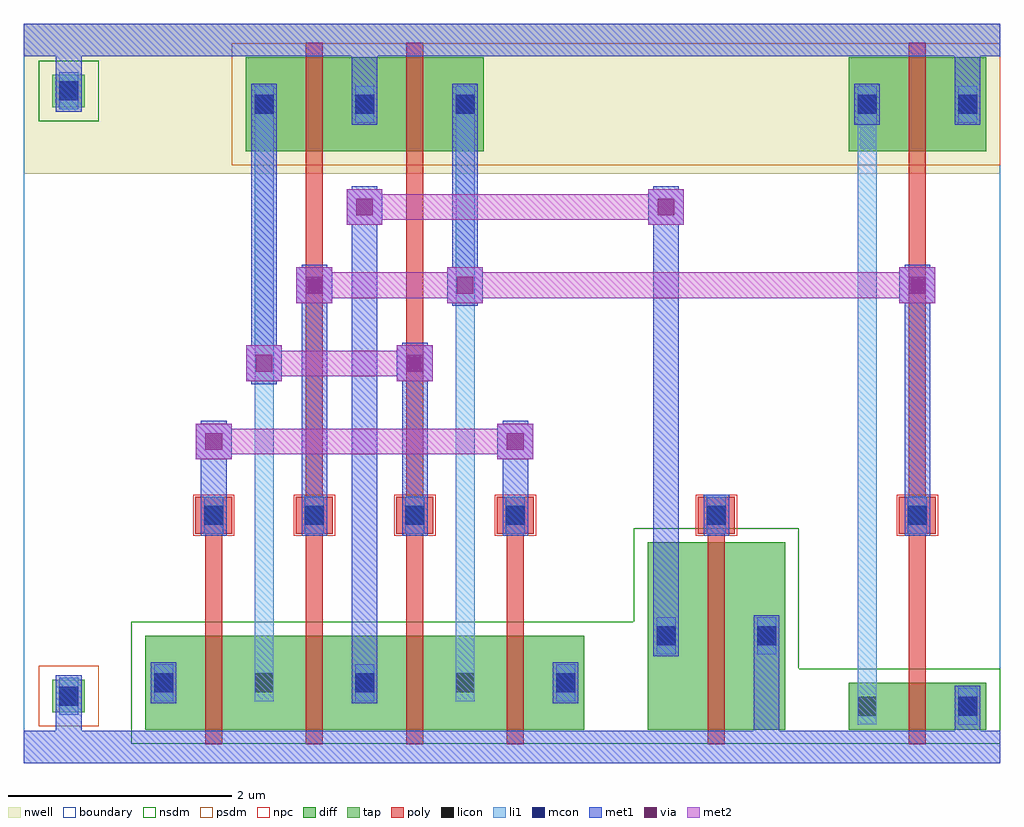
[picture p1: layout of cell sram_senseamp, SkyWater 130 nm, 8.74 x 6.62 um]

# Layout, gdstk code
import gdstk
lib = gdstk.Library(unit=1e-6, precision=1e-09)
def R(c, l, rs):  # rectangles x0, y0, x1, y1
    for r in rs: c.add(gdstk.rectangle(r[:2], r[2:], *l))
def A(c, l, x, y, w, h, nx, ny, dx, dy):  # array of equal rectangles
    R(c, l, [(x+i*dx, y+j*dy, x+i*dx+w, y+j*dy+h) for i in range(nx) for j in range(ny)])
nwell = (64, 20)
diff = (65, 20)
tap = (65, 44)
poly = (66, 20)
licon = (66, 44)
li1 = (67, 20)
mcon = (67, 44)
met1 = (68, 20)
via = (68, 44)
met2 = (69, 20)
nsdm = (93, 44)
psdm = (94, 20)
npc = (95, 20)
boundary = (235, 4)

sram_senseamp = lib.new_cell('sram_senseamp')
R(sram_senseamp, nwell, [(0,5.28,8.74,6.62)])
R(sram_senseamp, diff, [(1.085,0.3,5.015,1.14), (5.585,0.3,6.815,1.98), (7.385,0.3,8.615,0.72), (1.985,5.48,4.115,6.32), (7.385,5.48,8.615,6.32)])
R(sram_senseamp, tap, [(0.255,0.455,0.545,0.745), (0.255,5.875,0.545,6.165)])
A(sram_senseamp, poly, 1.535, 2.055, 0.33, 0.33, 4, 1, 0.9, 0)
R(sram_senseamp, poly, [(1.625,0.17,1.775,2.385), (2.525,0.17,2.675,6.45), (3.425,0.17,3.575,6.45), (4.325,0.17,4.475,2.385), (6.125,0.17,6.275,2.385), (7.925,0.17,8.075,6.45), (6.035,2.055,6.365,2.385), (7.835,2.055,8.165,2.385)])
A(sram_senseamp, licon, 1.165, 0.635, 0.17, 0.17, 5, 1, 0.9, 0)
A(sram_senseamp, licon, 1.615, 2.135, 0.17, 0.17, 4, 1, 0.9, 0)
A(sram_senseamp, licon, 2.065, 5.815, 0.17, 0.17, 3, 1, 0.9, 0)
R(sram_senseamp, licon, [(7.465,0.425,7.635,0.595), (8.365,0.425,8.535,0.595), (0.315,0.515,0.485,0.685), (5.665,1.055,5.835,1.225), (6.565,1.055,6.735,1.225), (6.115,2.135,6.285,2.305), (7.915,2.135,8.085,2.305), (7.465,5.815,7.635,5.985), (8.365,5.815,8.535,5.985), (0.315,5.935,0.485,6.105)])
A(sram_senseamp, li1, 1.165, 0.555, 0.17, 0.33, 5, 1, 0.9, 0)
A(sram_senseamp, li1, 1.615, 2.055, 0.17, 0.33, 4, 1, 0.9, 0)
A(sram_senseamp, li1, 2.065, 5.735, 0.17, 0.33, 3, 1, 0.9, 0)
R(sram_senseamp, li1, [(7.465,0.345,7.635,0.675), (8.365,0.345,8.535,0.675), (0.315,0.435,0.485,0.765), (7.465,0.51,7.635,5.9), (2.065,0.72,2.235,5.9), (3.865,0.72,4.035,5.9), (5.665,0.975,5.835,1.305), (6.565,0.975,6.735,1.305), (6.115,2.055,6.285,2.385), (7.915,2.055,8.085,2.385), (7.465,5.735,7.635,6.065), (8.365,5.735,8.535,6.065), (0.315,5.855,0.485,6.185)])
A(sram_senseamp, mcon, 1.165, 0.635, 0.17, 0.17, 3, 1, 1.8, 0)
A(sram_senseamp, mcon, 1.615, 2.135, 0.17, 0.17, 4, 1, 0.9, 0)
A(sram_senseamp, mcon, 2.065, 5.815, 0.17, 0.17, 3, 1, 0.9, 0)
R(sram_senseamp, mcon, [(8.365,0.425,8.535,0.595), (0.315,0.515,0.485,0.685), (5.665,1.055,5.835,1.225), (6.565,1.055,6.735,1.225), (6.115,2.135,6.285,2.305), (7.915,2.135,8.085,2.305), (7.465,5.815,7.635,5.985), (8.365,5.815,8.535,5.985), (0.315,5.935,0.485,6.105)])
A(sram_senseamp, met1, 1.585, 2.035, 0.23, 0.37, 4, 1, 0.9, 0)
R(sram_senseamp, met1, [(0,0,8.74,0.29), (0.285,0.145,0.515,0.6), (6.535,0.145,6.765,1.325), (8.335,0.145,8.565,0.695), (0.285,0.415,0.515,0.785), (1.135,0.535,1.365,0.905), (2.935,0.535,3.165,5.165), (4.735,0.535,4.965,0.905), (5.635,0.955,5.865,5.165), (1.585,2.035,1.815,3.065), (2.485,2.035,2.715,4.465), (3.385,2.035,3.615,3.765), (4.285,2.035,4.515,3.065), (6.085,2.035,6.315,2.405), (7.885,2.035,8.115,2.405), (7.885,2.035,8.115,4.465), (1.54,2.72,1.86,3.04), (4.24,2.72,4.56,3.04), (2.035,3.395,2.265,6.085), (1.99,3.42,2.31,3.74), (3.34,3.42,3.66,3.74), (3.835,4.095,4.065,6.085), (2.44,4.12,2.76,4.44), (3.79,4.12,4.11,4.44), (7.84,4.12,8.16,4.44), (2.89,4.82,3.21,5.14), (5.59,4.82,5.91,5.14), (2.935,5.715,3.165,6.475), (7.435,5.715,7.665,6.085), (8.335,5.715,8.565,6.475), (0.285,5.835,0.515,6.205), (0.285,6.02,0.515,6.475), (0,6.33,8.74,6.62)])
R(sram_senseamp, via, [(1.625,2.805,1.775,2.955), (4.325,2.805,4.475,2.955), (2.075,3.505,2.225,3.655), (3.425,3.505,3.575,3.655), (2.525,4.205,2.675,4.355), (3.875,4.205,4.025,4.355), (7.925,4.205,8.075,4.355), (2.975,4.905,3.125,5.055), (5.675,4.905,5.825,5.055)])
R(sram_senseamp, met2, [(1.54,2.72,1.86,3.04), (4.24,2.72,4.56,3.04), (1.54,2.765,4.56,2.995), (1.99,3.42,2.31,3.74), (3.34,3.42,3.66,3.74), (1.99,3.465,3.66,3.695), (2.44,4.12,2.76,4.44), (3.79,4.12,4.11,4.44), (7.84,4.12,8.16,4.44), (2.44,4.165,8.16,4.395), (2.89,4.82,3.21,5.14), (5.59,4.82,5.91,5.14), (2.89,4.865,5.91,5.095)])
R(sram_senseamp, nsdm, [(0.96,0.175,5.14,1.265), (5.14,0.175,5.46,1.265), (5.46,0.175,6.94,2.105), (6.94,0.175,7.26,0.845), (7.26,0.175,8.74,0.845), (0.13,5.75,0.67,6.29)])
R(sram_senseamp, psdm, [(0.13,0.33,0.67,0.87), (1.86,5.355,4.24,6.445), (4.24,5.355,7.26,6.445), (7.26,5.355,8.74,6.445)])
A(sram_senseamp, npc, 1.515, 2.035, 0.37, 0.37, 4, 1, 0.9, 0)
R(sram_senseamp, npc, [(6.015,2.035,6.385,2.405), (7.815,2.035,8.185,2.405)])
R(sram_senseamp, boundary, [(0,0,8.74,6.62)])

lib.write_gds('sram_senseamp.gds')
